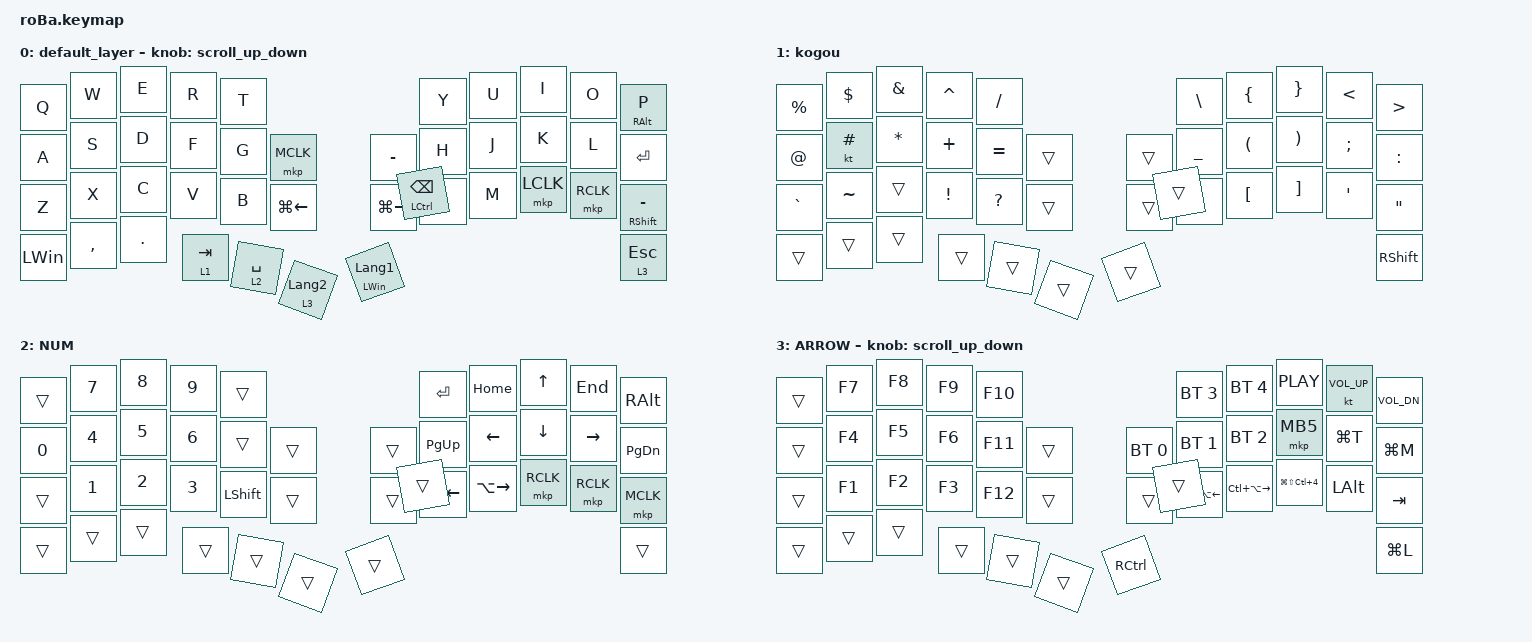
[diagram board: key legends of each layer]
#include <behaviors.dtsi>
#include <dt-bindings/zmk/bt.h>
#include <dt-bindings/zmk/keys.h>
#include <dt-bindings/zmk/pointing.h>

//#define ZMK_MOUSE_POINTING_SCRL_VAL 100

#define ZMK_POINTING_DEFAULT_SCRL_VAL 80

&mt {
    flavor = "hold-preferred";
    quick-tap-ms = <0>;
    tapping-term-ms = <200>;
};

&trackball {
    automouse-layer = <4>;
    scroll-layers = <3>;
};

/ {
    combos {
        compatible = "zmk,combos";

        tab {
            bindings = <&kp TAB>;
            key-positions = <11 12>;
        };

        shift_tab {
            bindings = <&kp LS(TAB)>;
            key-positions = <12 13>;
        };

        muhennkann {
            bindings = <&to_layer_0 INT_MUHENKAN>;
            key-positions = <11 10>;
        };

        double_quotation {
            bindings = <&kp DOUBLE_QUOTES>;
            key-positions = <20 21>;
        };

        eq {
            bindings = <&kp EQUAL>;
            key-positions = <24 25>;
        };
    };

    macros {
        to_layer_0: to_layer_0 {
            compatible = "zmk,behavior-macro-one-param";
            #binding-cells = <1>;
            bindings = <&to 0 &macro_param_1to1 &kp MACRO_PLACEHOLDER>;
            label = "TO_LAYER_0";
        };
    };

    behaviors {
        lt_to_layer_0: lt_to_layer_0 {
            compatible = "zmk,behavior-hold-tap";
            label = "LAYER_TAP_TO_0";
            bindings = <&mo>, <&to_layer_0>;

            #binding-cells = <2>;
            tapping-term-ms = <200>;
        };

        scroll_up_down: behavior_sensor_rotate_mouse_wheel_up_down {
            compatible = "zmk,behavior-sensor-rotate";
            #sensor-binding-cells = <0>;
            bindings = <&msc SCRL_DOWN>, <&msc SCRL_UP>;

            tap-ms = <17>;
        };
    };

    keymap {
        compatible = "zmk,keymap";

        default_layer {
            bindings = <
&kp Q         &kp W      &kp E       &kp R                 &kp T                                                                  &kp Y                &kp U  &kp I      &kp O      &mt RIGHT_ALT P
&kp A         &kp S      &kp D       &kp F                 &kp G        &mkp MCLK                        &kp MINUS                &kp H                &kp J  &kp K      &kp L      &kp ENTER
&kp Z         &kp X      &kp C       &kp V                 &kp B        &kp LG(LEFT)                     &kp LG(RIGHT)            &kp N                &kp M  &mkp LCLK  &mkp RCLK  &mt RIGHT_SHIFT MINUS
&kp LEFT_WIN  &kp COMMA  &kp PERIOD  &lt_to_layer_0 1 TAB  &lt 2 SPACE  &lt_to_layer_0 3 LANGUAGE_2      &mt LEFT_WIN LANGUAGE_1  &mt LCTRL BACKSPACE                               &lt 3 ESC
            >;

            sensor-bindings = <&scroll_up_down>;
        };

        kogou {
            bindings = <
&kp PERCENT  &kp DOLLAR  &kp AMPERSAND  &kp CARET        &kp SLASH                         &kp BACKSLASH   &kp LEFT_BRACE        &kp RIGHT_BRACE        &kp LESS_THAN  &kp GREATER_THAN
&kp AT_SIGN  &kt HASH    &kp ASTERISK   &kp PLUS         &kp EQUAL     &trans      &trans  &kp UNDERSCORE  &kp LEFT_PARENTHESIS  &kp RIGHT_PARENTHESIS  &kp SEMICOLON  &kp COLON
&kp GRAVE    &kp TILDE   &trans         &kp EXCLAMATION  &kp QUESTION  &trans      &trans  &kp PIPE        &kp LEFT_BRACKET      &kp RIGHT_BRACKET      &kp SQT        &kp DOUBLE_QUOTES
&trans       &trans      &trans         &trans           &trans        &trans      &trans  &trans                                                                      &kp RIGHT_SHIFT
            >;
        };

        NUM {
            bindings = <
&trans  &kp N7        &kp N8        &kp N9        &trans                              &kp ENTER     &kp HOME        &kp UP_ARROW  &kp END    &kp RIGHT_ALT
&kp N0  &kp NUMBER_4  &kp N5        &kp NUMBER_6  &trans          &trans      &trans  &kp PAGE_UP   &kp LEFT_ARROW  &kp DOWN      &kp RIGHT  &kp PAGE_DOWN
&trans  &kp NUMBER_1  &kp NUMBER_2  &kp NUMBER_3  &kp LEFT_SHIFT  &trans      &trans  &kp LA(LEFT)  &kp LA(RIGHT)   &mkp RCLK     &mkp RCLK  &mkp MCLK
&trans  &trans        &trans        &trans        &trans          &trans      &trans  &trans                                                 &trans
            >;
        };

        ARROW {
            bindings = <
&trans  &kp F7  &kp F8  &kp F9  &kp F10                            &bt BT_SEL 3      &bt BT_SEL 4       &kp C_PLAY                &kt C_VOL_UP  &kp C_VOL_DN
&trans  &kp F4  &kp F5  &kp F6  &kp F11  &trans      &bt BT_SEL 0  &bt BT_SEL 1      &bt BT_SEL 2       &mkp MB5                  &kp LG(T)     &kp LG(M)
&trans  &kp F1  &kp F2  &kp F3  &kp F12  &trans      &trans        &kp LC(LA(LEFT))  &kp LC(LA(RIGHT))  &kp LG(LS(LC(NUMBER_4)))  &kp LEFT_ALT  &kp TAB
&trans  &trans  &trans  &trans  &trans   &trans      &kp RCTRL     &trans                                                                       &kp LG(L)
            >;

            sensor-bindings = <&scroll_up_down>;
        };
    };
};
